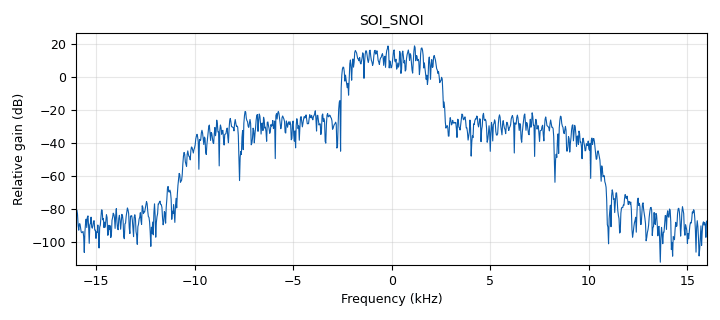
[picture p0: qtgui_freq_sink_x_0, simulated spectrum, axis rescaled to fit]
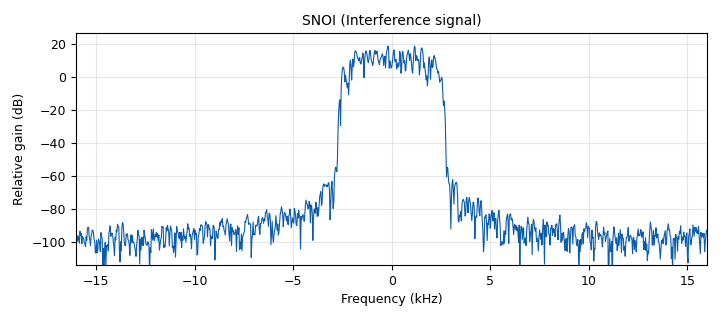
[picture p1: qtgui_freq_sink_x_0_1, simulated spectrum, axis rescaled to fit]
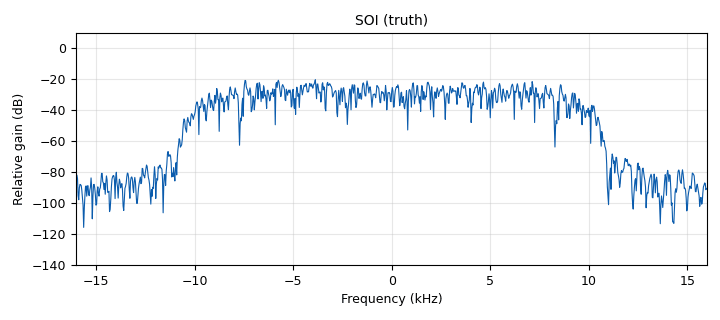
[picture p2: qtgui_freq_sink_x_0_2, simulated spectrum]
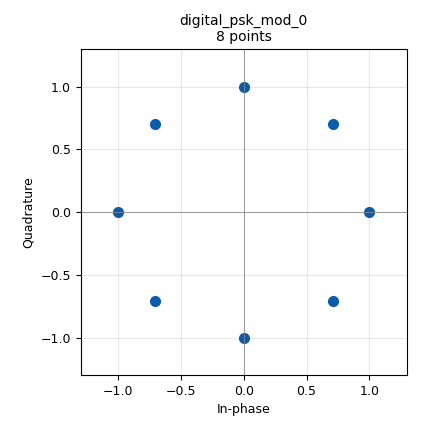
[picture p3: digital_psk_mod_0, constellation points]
<?xml version='1.0' encoding='utf-8'?>
<?grc format='1' created='3.7.9'?>
<flow_graph>
<block>
<key>options</key>
<param><key>id</key><value>top_block</value></param>
<param><key>category</key><value>Custom</value></param>
<param><key>generate_options</key><value>qt_gui</value></param>
</block>
<block>
<key>variable</key>
<param><key>id</key><value>samp_rate</value></param>
<param><key>value</key><value>32000</value></param>
</block>
<block>
<key>adaptive_lms_filter_cc</key>
<param><key>id</key><value>adaptive_lms_filter_cc_0</value></param>
<param><key>mu</key><value>0.000001</value></param>
<param><key>num_taps</key><value>2</value></param>
<param><key>sps</key><value>1</value></param>
</block>
<block>
<key>analog_fastnoise_source_x</key>
<param><key>id</key><value>analog_fastnoise_source_x_0</value></param>
<param><key>amp</key><value>0.001</value></param>
<param><key>noise_type</key><value>analog.GR_GAUSSIAN</value></param>
<param><key>type</key><value>complex</value></param>
<param><key>seed</key><value>0</value></param>
<param><key>samples</key><value>8192</value></param>
</block>
<block>
<key>analog_fastnoise_source_x</key>
<param><key>id</key><value>analog_fastnoise_source_x_0_0</value></param>
<param><key>amp</key><value>0.0001</value></param>
<param><key>noise_type</key><value>analog.GR_GAUSSIAN</value></param>
<param><key>type</key><value>complex</value></param>
<param><key>seed</key><value>511</value></param>
<param><key>samples</key><value>8192</value></param>
</block>
<block>
<key>analog_random_source_x</key>
<param><key>id</key><value>analog_random_source_x_0</value></param>
<param><key>max</key><value>255</value></param>
<param><key>min</key><value>0</value></param>
<param><key>num_samps</key><value>1000</value></param>
<param><key>type</key><value>byte</value></param>
<param><key>repeat</key><value>True</value></param>
</block>
<block>
<key>analog_random_source_x</key>
<param><key>id</key><value>analog_random_source_x_0_0</value></param>
<param><key>max</key><value>255</value></param>
<param><key>min</key><value>0</value></param>
<param><key>num_samps</key><value>2000</value></param>
<param><key>type</key><value>byte</value></param>
<param><key>repeat</key><value>True</value></param>
</block>
<block>
<key>blocks_add_xx</key>
<param><key>id</key><value>blocks_add_xx_0</value></param>
<param><key>type</key><value>complex</value></param>
</block>
<block>
<key>blocks_add_xx</key>
<param><key>id</key><value>blocks_add_xx_0_0</value></param>
<param><key>type</key><value>complex</value></param>
</block>
<block>
<key>blocks_add_xx</key>
<param><key>id</key><value>blocks_add_xx_0_0_0</value></param>
<param><key>type</key><value>complex</value></param>
</block>
<block>
<key>blocks_multiply_const_vxx</key>
<param><key>id</key><value>blocks_multiply_const_vxx_0</value></param>
<param><key>const</key><value>100</value></param>
<param><key>type</key><value>complex</value></param>
</block>
<block>
<key>blocks_multiply_const_vxx</key>
<param><key>id</key><value>blocks_multiply_const_vxx_0_0</value></param>
<param><key>const</key><value>2</value></param>
<param><key>type</key><value>complex</value></param>
</block>
<block>
<key>blocks_throttle</key>
<param><key>id</key><value>blocks_throttle_0</value></param>
<param><key>samples_per_second</key><value>samp_rate</value></param>
<param><key>type</key><value>complex</value></param>
</block>
<block>
<key>digital_psk_mod</key>
<param><key>id</key><value>digital_psk_mod_0</value></param>
<param><key>differential</key><value>True</value></param>
<param><key>excess_bw</key><value>0.35</value></param>
<param><key>mod_code</key><value>"gray"</value></param>
<param><key>constellation_points</key><value>8</value></param>
<param><key>samples_per_symbol</key><value>8</value></param>
</block>
<block>
<key>digital_psk_mod</key>
<param><key>id</key><value>digital_psk_mod_0_0</value></param>
<param><key>differential</key><value>True</value></param>
<param><key>excess_bw</key><value>0.35</value></param>
<param><key>mod_code</key><value>"gray"</value></param>
<param><key>constellation_points</key><value>8</value></param>
<param><key>samples_per_symbol</key><value>2</value></param>
</block>
<block>
<key>qtgui_freq_sink_x</key>
<param><key>id</key><value>qtgui_freq_sink_x_0</value></param>
<param><key>bw</key><value>samp_rate</value></param>
<param><key>fc</key><value>0</value></param>
<param><key>fftsize</key><value>1024</value></param>
<param><key>name</key><value>SOI_SNOI</value></param>
<param><key>showports</key><value>True</value></param>
<param><key>type</key><value>complex</value></param>
<param><key>wintype</key><value>firdes.WIN_BLACKMAN_hARRIS</value></param>
</block>
<block>
<key>qtgui_freq_sink_x</key>
<param><key>id</key><value>qtgui_freq_sink_x_0_0</value></param>
<param><key>bw</key><value>samp_rate</value></param>
<param><key>fc</key><value>0</value></param>
<param><key>fftsize</key><value>1024</value></param>
<param><key>name</key><value>OUTPUT</value></param>
<param><key>showports</key><value>True</value></param>
<param><key>type</key><value>complex</value></param>
<param><key>wintype</key><value>firdes.WIN_BLACKMAN_hARRIS</value></param>
</block>
<block>
<key>qtgui_freq_sink_x</key>
<param><key>id</key><value>qtgui_freq_sink_x_0_1</value></param>
<param><key>bw</key><value>samp_rate</value></param>
<param><key>fc</key><value>0</value></param>
<param><key>fftsize</key><value>1024</value></param>
<param><key>name</key><value>SNOI (Interference signal)</value></param>
<param><key>showports</key><value>True</value></param>
<param><key>type</key><value>complex</value></param>
<param><key>wintype</key><value>firdes.WIN_BLACKMAN_hARRIS</value></param>
</block>
<block>
<key>qtgui_freq_sink_x</key>
<param><key>id</key><value>qtgui_freq_sink_x_0_2</value></param>
<param><key>bw</key><value>samp_rate</value></param>
<param><key>fc</key><value>0</value></param>
<param><key>fftsize</key><value>1024</value></param>
<param><key>name</key><value>SOI (truth)</value></param>
<param><key>showports</key><value>True</value></param>
<param><key>type</key><value>complex</value></param>
<param><key>wintype</key><value>firdes.WIN_BLACKMAN_hARRIS</value></param>
</block>
<connection><source_block_id>adaptive_lms_filter_cc_0</source_block_id><sink_block_id>qtgui_freq_sink_x_0_0</sink_block_id><source_key>0</source_key><sink_key>0</sink_key></connection>
<connection><source_block_id>analog_fastnoise_source_x_0</source_block_id><sink_block_id>blocks_add_xx_0_0</sink_block_id><source_key>0</source_key><sink_key>0</sink_key></connection>
<connection><source_block_id>analog_fastnoise_source_x_0_0</source_block_id><sink_block_id>blocks_throttle_0</sink_block_id><source_key>0</source_key><sink_key>0</sink_key></connection>
<connection><source_block_id>analog_random_source_x_0</source_block_id><sink_block_id>digital_psk_mod_0</sink_block_id><source_key>0</source_key><sink_key>0</sink_key></connection>
<connection><source_block_id>analog_random_source_x_0_0</source_block_id><sink_block_id>digital_psk_mod_0_0</sink_block_id><source_key>0</source_key><sink_key>0</sink_key></connection>
<connection><source_block_id>blocks_add_xx_0</source_block_id><sink_block_id>adaptive_lms_filter_cc_0</sink_block_id><source_key>0</source_key><sink_key>0</sink_key></connection>
<connection><source_block_id>blocks_add_xx_0</source_block_id><sink_block_id>qtgui_freq_sink_x_0</sink_block_id><source_key>0</source_key><sink_key>0</sink_key></connection>
<connection><source_block_id>blocks_add_xx_0_0</source_block_id><sink_block_id>adaptive_lms_filter_cc_0</sink_block_id><source_key>0</source_key><sink_key>1</sink_key></connection>
<connection><source_block_id>blocks_add_xx_0_0</source_block_id><sink_block_id>blocks_add_xx_0</sink_block_id><source_key>0</source_key><sink_key>1</sink_key></connection>
<connection><source_block_id>blocks_add_xx_0_0</source_block_id><sink_block_id>qtgui_freq_sink_x_0_1</sink_block_id><source_key>0</source_key><sink_key>0</sink_key></connection>
<connection><source_block_id>blocks_add_xx_0_0_0</source_block_id><sink_block_id>blocks_add_xx_0</sink_block_id><source_key>0</source_key><sink_key>0</sink_key></connection>
<connection><source_block_id>blocks_add_xx_0_0_0</source_block_id><sink_block_id>qtgui_freq_sink_x_0_2</sink_block_id><source_key>0</source_key><sink_key>0</sink_key></connection>
<connection><source_block_id>blocks_multiply_const_vxx_0</source_block_id><sink_block_id>blocks_add_xx_0_0</sink_block_id><source_key>0</source_key><sink_key>1</sink_key></connection>
<connection><source_block_id>blocks_multiply_const_vxx_0_0</source_block_id><sink_block_id>blocks_add_xx_0_0_0</sink_block_id><source_key>0</source_key><sink_key>1</sink_key></connection>
<connection><source_block_id>blocks_throttle_0</source_block_id><sink_block_id>blocks_add_xx_0_0_0</sink_block_id><source_key>0</source_key><sink_key>0</sink_key></connection>
<connection><source_block_id>digital_psk_mod_0</source_block_id><sink_block_id>blocks_multiply_const_vxx_0</sink_block_id><source_key>0</source_key><sink_key>0</sink_key></connection>
<connection><source_block_id>digital_psk_mod_0_0</source_block_id><sink_block_id>blocks_multiply_const_vxx_0_0</sink_block_id><source_key>0</source_key><sink_key>0</sink_key></connection>
</flow_graph>
